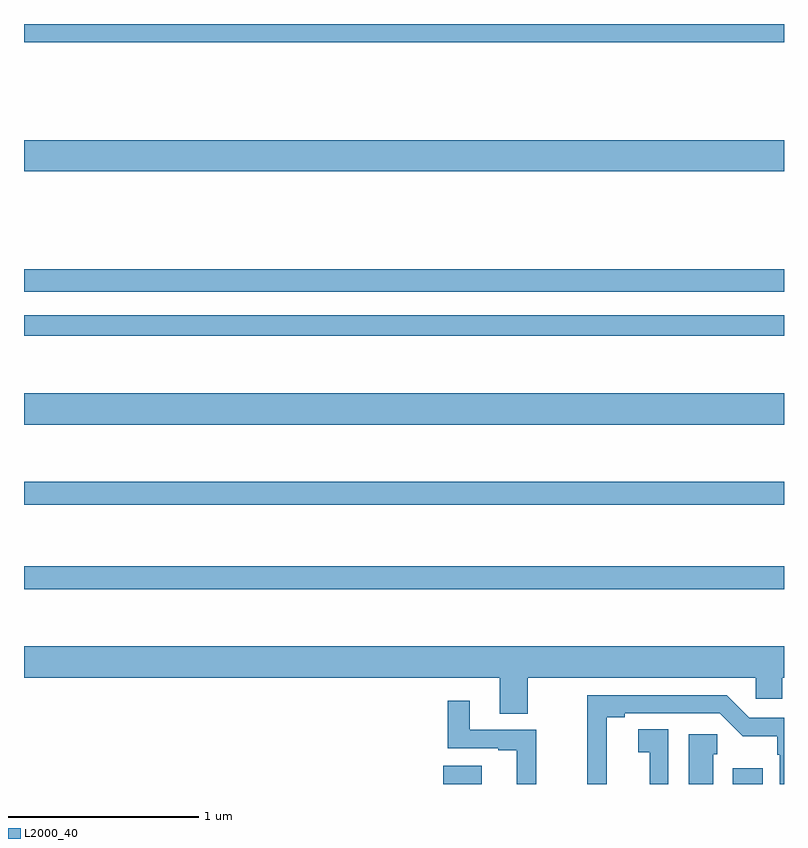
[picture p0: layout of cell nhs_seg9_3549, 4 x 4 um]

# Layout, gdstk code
import gdstk
lib = gdstk.Library(unit=1e-6, precision=1e-09)
def R(c, l, rs):  # rectangles x0, y0, x1, y1
    for r in rs: c.add(gdstk.rectangle(r[:2], r[2:], *l))
def P(c, l, *ps):  # polygons
    for p in ps: c.add(gdstk.Polygon(p, *l))
L2000_40 = (2000, 40)

nhs_seg9_3549 = lib.new_cell('nhs_seg9_3549')
R(nhs_seg9_3549, L2000_40, [(315.206,1222.5,315.409,1222.597), (316.73,1222.5,316.888,1222.582), (313,1223.526,317,1223.647), (313,1223.97,317,1224.091), (313,1224.392,317,1224.556), (313,1224.858,317,1224.966), (313,1225.092,317,1225.208), (313,1225.724,317,1225.888), (313,1226.404,317,1226.5)])
P(nhs_seg9_3549, L2000_40, [(315.651,1223.06),(316.851,1223.06),(316.851,1222.95),(316.99,1222.95),(316.99,1223.06),(317,1223.06),(317,1223.224),(313,1223.224),(313,1223.06),(315.503,1223.06),(315.503,1222.87),(315.651,1222.87)],
  [(316.068,1222.569),(316.066,1222.569),(316.066,1222.852),(316.162,1222.852),(316.162,1222.872),(316.662,1222.872),(316.783,1222.751),(316.965,1222.751),(316.965,1222.655),(316.977,1222.655),(316.977,1222.5),(317,1222.5),(317,1222.848),(316.818,1222.848),(316.698,1222.968),(315.964,1222.968),(315.964,1222.5),(316.068,1222.5)],
  [(315.695,1222.785),(315.346,1222.785),(315.346,1222.939),(315.229,1222.939),(315.229,1222.689),(315.497,1222.689),(315.497,1222.677),(315.593,1222.677),(315.593,1222.5),(315.695,1222.5)],
  [(316.392,1222.787),(316.233,1222.787),(316.233,1222.667),(316.294,1222.667),(316.294,1222.5),(316.392,1222.5)],
  [(316.627,1222.656),(316.649,1222.656),(316.649,1222.762),(316.499,1222.762),(316.499,1222.5),(316.627,1222.5)])

lib.write_gds('nhs_seg9_3549.gds')
